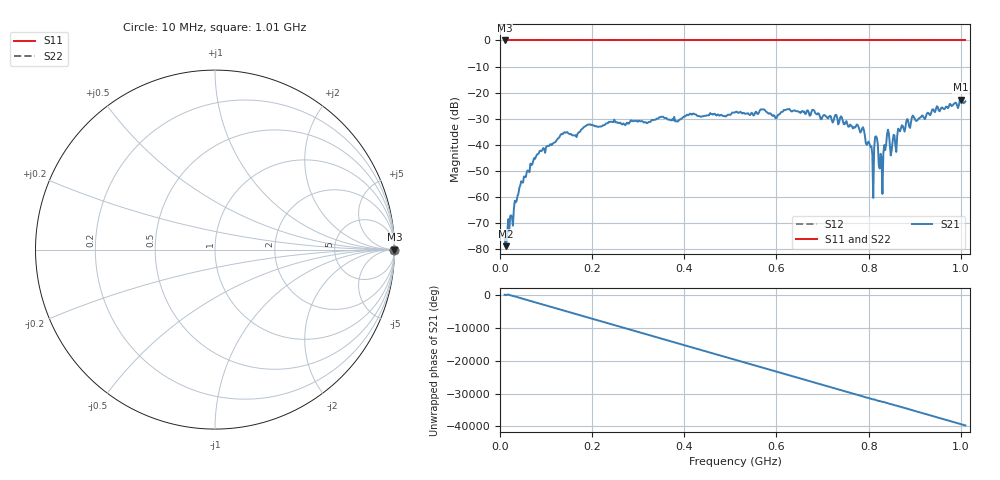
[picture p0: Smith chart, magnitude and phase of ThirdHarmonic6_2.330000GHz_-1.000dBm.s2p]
! 8/17/2025 3:22:12 AM
! C:\ANRITSUVNA\TEMP\TEMP.S2P
! CHANNEL.1
! TR.MEASUREMENT
! RAW.DATA
! RF.CORRECTION.OFF
! AVERAGING.OFF
! IF.BANDWIDTH: 5KHZ
! SWEEPTYPE:  FREQ.SWEEP(Linear)
! Reference Plane Port Info
! PORT:  PORT1  PORT2
! DISTANCE:  0  m  0  m
! TIME:  0  s  0  s
! PHASE.OFFSET:  0  deg.  0  deg.
! LOSS:  0  dB  0  dB
! REF.LOSS:  0  dB  0  dB
! REF.FREQ:  0  Hz  0  Hz
! Power Info
! POWER:  -20  dBm  -20  dBm
! EFF.POWER:  -20  dBm  -20  dBm
! SOURCE.ATTEN:  0  dB  0  dB
! TEST.ATTEN:  0  dB  0  dB
# GHZ S RI R 50.0
! FREQ.GHZ  S11RE  S11IM  S21RE  S21IM  S12RE  S12IM  S22RE  S22IM
!; PortSelection: Port_12
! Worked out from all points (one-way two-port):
!   501 points, 10 MHz to 1.01 GHz, reference 50 ohm
!   highest |S21| = -22.63 dB at 1 GHz (marker M1); lowest = -78.8 dB at 12 MHz (marker M2)
!   lowest |S11| = 0.0 dB at 10 MHz (marker M3)
!   |S11| at or under -10 dB: nowhere
!   |S22| runs from 0.0 to 0.0 dB; largest |S21 - S12| = 1.1
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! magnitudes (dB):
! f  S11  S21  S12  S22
! 10 MHz  0.0  -75.7  0.0  0.0
! 12 MHz  0.0  -78.8  0.0  0.0
! 44 MHz  0.0  -55.5  0.0  0.0
! 78 MHz  0.0  -44.5  0.0  0.0
! 136 MHz  0.0  -35.9  0.0  0.0
! 178 MHz  0.0  -33.9  0.0  0.0
! 344 MHz  0.0  -29.8  0.0  0.0
! 510 MHz  0.0  -27.5  0.0  0.0
! 678 MHz  0.0  -26.6  0.0  0.0
! 788 MHz  0.0  -33.3  0.0  0.0
! 804 MHz  0.0  -40.7  0.0  0.0
! 808 MHz  0.0  -43.5  0.0  0.0
! 814 MHz  0.0  -36.9  0.0  0.0
! 816 MHz  0.0  -36.7  0.0  0.0
! 826 MHz  0.0  -43.4  0.0  0.0
! 834 MHz  0.0  -40.0  0.0  0.0
! 838 MHz  0.0  -39.8  0.0  0.0
! 844 MHz  0.0  -35.7  0.0  0.0
! 850 MHz  0.0  -42.1  0.0  0.0
! 896 MHz  0.0  -28.8  0.0  0.0
! 1 GHz  0.0  -22.6  0.0  0.0
! 1.01 GHz  0.0  -23.3  0.0  0.0
